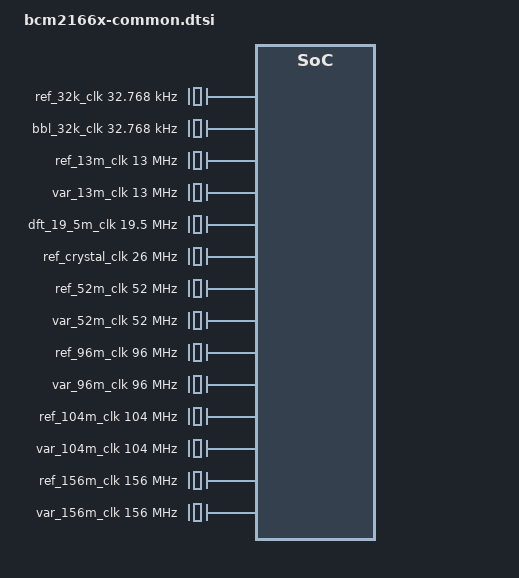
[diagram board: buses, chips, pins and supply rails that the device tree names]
// SPDX-License-Identifier: BSD-3-Clause
/*
 * Common device tree for components shared between the BCM21664 and BCM23550
 * SoCs.
 *
 * Copyright (C) 2016 Broadcom
 */

/dts-v1/;

#include <dt-bindings/clock/bcm21664.h>
#include <dt-bindings/interrupt-controller/arm-gic.h>
#include <dt-bindings/interrupt-controller/irq.h>

/ {
	#address-cells = <1>;
	#size-cells = <1>;

	/* Hub bus */
	hub: hub-bus@34000000 {
		compatible = "simple-bus";
		ranges = <0 0x34000000 0x102f83ac>;
		#address-cells = <1>;
		#size-cells = <1>;

		smc: smc@4e000 {
			/* Compatible filled by SoC DTSI */
			reg = <0x0004e000 0x400>; /* 1 KiB in SRAM */
		};

		resetmgr: reset-controller@1001f00 {
			compatible = "brcm,bcm21664-resetmgr";
			reg = <0x01001f00 0x24>;
		};

		gpio: gpio@1003000 {
			/* Compatible filled by SoC DTSI */
			reg = <0x01003000 0x524>;
			interrupts = <GIC_SPI 106 IRQ_TYPE_LEVEL_HIGH>,
				     <GIC_SPI 115 IRQ_TYPE_LEVEL_HIGH>,
				     <GIC_SPI 114 IRQ_TYPE_LEVEL_HIGH>,
				     <GIC_SPI 113 IRQ_TYPE_LEVEL_HIGH>;
			#gpio-cells = <2>;
			#interrupt-cells = <2>;
			gpio-controller;
			interrupt-controller;
		};

		timer@1006000 {
			compatible = "brcm,kona-timer";
			reg = <0x01006000 0x1c>;
			interrupts = <GIC_SPI 7 IRQ_TYPE_LEVEL_HIGH>;
			clocks = <&aon_ccu BCM21664_AON_CCU_HUB_TIMER>;
		};
	};

	/* Slaves bus */
	slaves: slaves-bus@3e000000 {
		compatible = "simple-bus";
		ranges = <0 0x3e000000 0x0001c070>;
		#address-cells = <1>;
		#size-cells = <1>;

		uartb: serial@0 {
			compatible = "snps,dw-apb-uart";
			reg = <0x00000000 0x118>;
			clocks = <&slave_ccu BCM21664_SLAVE_CCU_UARTB>;
			interrupts = <GIC_SPI 67 IRQ_TYPE_LEVEL_HIGH>;
			reg-shift = <2>;
			reg-io-width = <4>;
			status = "disabled";
		};

		uartb2: serial@1000 {
			compatible = "snps,dw-apb-uart";
			reg = <0x00001000 0x118>;
			clocks = <&slave_ccu BCM21664_SLAVE_CCU_UARTB2>;
			interrupts = <GIC_SPI 66 IRQ_TYPE_LEVEL_HIGH>;
			reg-shift = <2>;
			reg-io-width = <4>;
			status = "disabled";
		};

		uartb3: serial@2000 {
			compatible = "snps,dw-apb-uart";
			reg = <0x00002000 0x118>;
			clocks = <&slave_ccu BCM21664_SLAVE_CCU_UARTB3>;
			interrupts = <GIC_SPI 65 IRQ_TYPE_LEVEL_HIGH>;
			reg-shift = <2>;
			reg-io-width = <4>;
			status = "disabled";
		};

		bsc1: i2c@16000 {
			/* Compatible filled by SoC DTSI */
			reg = <0x00016000 0x70>;
			interrupts = <GIC_SPI 103 IRQ_TYPE_LEVEL_HIGH>;
			#address-cells = <1>;
			#size-cells = <0>;
			clocks = <&slave_ccu BCM21664_SLAVE_CCU_BSC1>;
			status = "disabled";
		};

		bsc2: i2c@17000 {
			/* Compatible filled by SoC DTSI */
			reg = <0x00017000 0x70>;
			interrupts = <GIC_SPI 102 IRQ_TYPE_LEVEL_HIGH>;
			#address-cells = <1>;
			#size-cells = <0>;
			clocks = <&slave_ccu BCM21664_SLAVE_CCU_BSC2>;
			status = "disabled";
		};

		bsc3: i2c@18000 {
			/* Compatible filled by SoC DTSI */
			reg = <0x00018000 0x70>;
			interrupts = <GIC_SPI 169 IRQ_TYPE_LEVEL_HIGH>;
			#address-cells = <1>;
			#size-cells = <0>;
			clocks = <&slave_ccu BCM21664_SLAVE_CCU_BSC3>;
			status = "disabled";
		};

		bsc4: i2c@1c000 {
			/* Compatible filled by SoC DTSI */
			reg = <0x0001c000 0x70>;
			interrupts = <GIC_SPI 170 IRQ_TYPE_LEVEL_HIGH>;
			#address-cells = <1>;
			#size-cells = <0>;
			clocks = <&slave_ccu BCM21664_SLAVE_CCU_BSC4>;
			status = "disabled";
		};
	};

	/* Apps bus */
	apps: apps-bus@3e300000 {
		compatible = "simple-bus";
		ranges = <0 0x3e300000 0x01c02000>;
		#address-cells = <1>;
		#size-cells = <1>;

		usbotg: usb@e20000 {
			compatible = "snps,dwc2";
			reg = <0x00e20000 0x10000>;
			interrupts = <GIC_SPI 47 IRQ_TYPE_LEVEL_HIGH>;
			clocks = <&usb_otg_ahb_clk>;
			clock-names = "otg";
			phys = <&usbphy>;
			phy-names = "usb2-phy";
			status = "disabled";
		};

		usbphy: usb-phy@e30000 {
			compatible = "brcm,kona-usb2-phy";
			reg = <0x00e30000 0x28>;
			#phy-cells = <0>;
			status = "disabled";
		};

		sdio1: mmc@e80000 {
			compatible = "brcm,kona-sdhci";
			reg = <0x00e80000 0x801c>;
			interrupts = <GIC_SPI 77 IRQ_TYPE_LEVEL_HIGH>;
			clocks = <&master_ccu BCM21664_MASTER_CCU_SDIO1>;
			status = "disabled";
		};

		sdio2: mmc@e90000 {
			compatible = "brcm,kona-sdhci";
			reg = <0x00e90000 0x801c>;
			interrupts = <GIC_SPI 76 IRQ_TYPE_LEVEL_HIGH>;
			clocks = <&master_ccu BCM21664_MASTER_CCU_SDIO2>;
			status = "disabled";
		};

		sdio3: mmc@ea0000 {
			compatible = "brcm,kona-sdhci";
			reg = <0x00ea0000 0x801c>;
			interrupts = <GIC_SPI 74 IRQ_TYPE_LEVEL_HIGH>;
			clocks = <&master_ccu BCM21664_MASTER_CCU_SDIO3>;
			status = "disabled";
		};

		sdio4: mmc@eb0000 {
			compatible = "brcm,kona-sdhci";
			reg = <0x00eb0000 0x801c>;
			interrupts = <GIC_SPI 73 IRQ_TYPE_LEVEL_HIGH>;
			clocks = <&master_ccu BCM21664_MASTER_CCU_SDIO4>;
			status = "disabled";
		};
	};

	clocks {
		#address-cells = <1>;
		#size-cells = <1>;
		ranges;

		/*
		 * Fixed clocks are defined before CCUs whose
		 * clocks may depend on them.
		 */

		ref_32k_clk: ref_32k {
			#clock-cells = <0>;
			compatible = "fixed-clock";
			clock-frequency = <32768>;
		};

		bbl_32k_clk: bbl_32k {
			#clock-cells = <0>;
			compatible = "fixed-clock";
			clock-frequency = <32768>;
		};

		ref_13m_clk: ref_13m {
			#clock-cells = <0>;
			compatible = "fixed-clock";
			clock-frequency = <13000000>;
		};

		var_13m_clk: var_13m {
			#clock-cells = <0>;
			compatible = "fixed-clock";
			clock-frequency = <13000000>;
		};

		dft_19_5m_clk: dft_19_5m {
			#clock-cells = <0>;
			compatible = "fixed-clock";
			clock-frequency = <19500000>;
		};

		ref_crystal_clk: ref_crystal {
			#clock-cells = <0>;
			compatible = "fixed-clock";
			clock-frequency = <26000000>;
		};

		ref_52m_clk: ref_52m {
			#clock-cells = <0>;
			compatible = "fixed-clock";
			clock-frequency = <52000000>;
		};

		var_52m_clk: var_52m {
			#clock-cells = <0>;
			compatible = "fixed-clock";
			clock-frequency = <52000000>;
		};

		usb_otg_ahb_clk: usb_otg_ahb {
			#clock-cells = <0>;
			compatible = "fixed-clock";
			clock-frequency = <52000000>;
		};

		ref_96m_clk: ref_96m {
			#clock-cells = <0>;
			compatible = "fixed-clock";
			clock-frequency = <96000000>;
		};

		var_96m_clk: var_96m {
			#clock-cells = <0>;
			compatible = "fixed-clock";
			clock-frequency = <96000000>;
		};

		ref_104m_clk: ref_104m {
			#clock-cells = <0>;
			compatible = "fixed-clock";
			clock-frequency = <104000000>;
		};

		var_104m_clk: var_104m {
			#clock-cells = <0>;
			compatible = "fixed-clock";
			clock-frequency = <104000000>;
		};

		ref_156m_clk: ref_156m {
			#clock-cells = <0>;
			compatible = "fixed-clock";
			clock-frequency = <156000000>;
		};

		var_156m_clk: var_156m {
			#clock-cells = <0>;
			compatible = "fixed-clock";
			clock-frequency = <156000000>;
		};

		root_ccu: root_ccu@35001000 {
			compatible = "brcm,bcm21664-root-ccu";
			reg = <0x35001000 0x0f00>;
			#clock-cells = <1>;
			clock-output-names = "frac_1m";
		};

		aon_ccu: aon_ccu@35002000 {
			compatible = "brcm,bcm21664-aon-ccu";
			reg = <0x35002000 0x0f00>;
			#clock-cells = <1>;
			clock-output-names = "hub_timer";
		};

		slave_ccu: slave_ccu@3e011000 {
			compatible = "brcm,bcm21664-slave-ccu";
			reg = <0x3e011000 0x0f00>;
			#clock-cells = <1>;
			clock-output-names = "uartb",
					     "uartb2",
					     "uartb3",
					     "bsc1",
					     "bsc2",
					     "bsc3",
					     "bsc4";
		};

		master_ccu: master_ccu@3f001000 {
			compatible = "brcm,bcm21664-master-ccu";
			reg = <0x3f001000 0x0f00>;
			#clock-cells = <1>;
			clock-output-names = "sdio1",
					     "sdio2",
					     "sdio3",
					     "sdio4",
					     "sdio1_sleep",
					     "sdio2_sleep",
					     "sdio3_sleep",
					     "sdio4_sleep";
		};
	};
};
